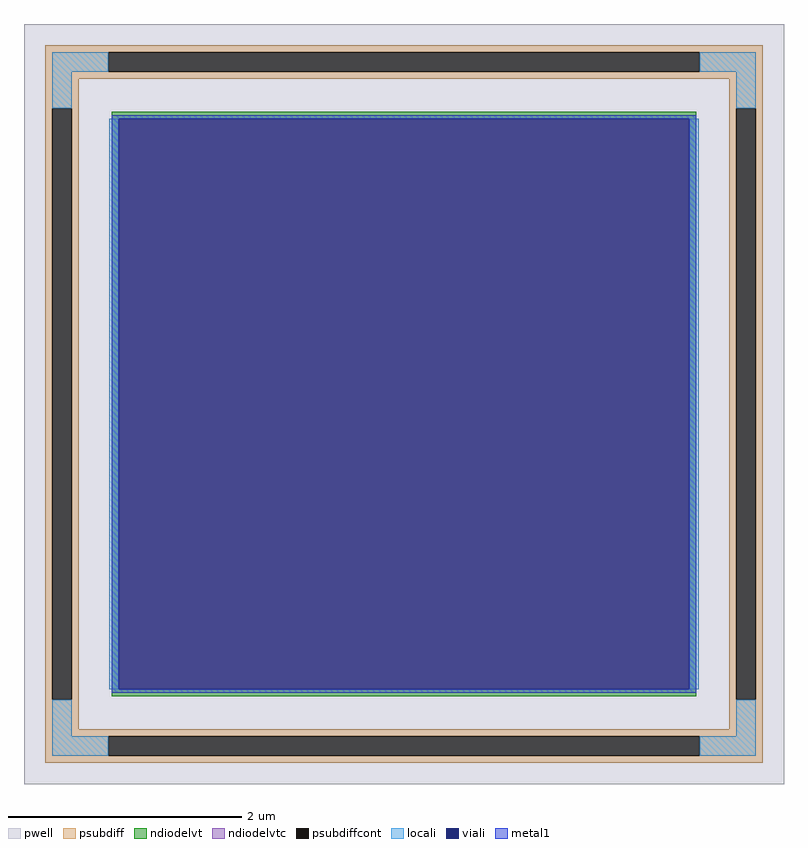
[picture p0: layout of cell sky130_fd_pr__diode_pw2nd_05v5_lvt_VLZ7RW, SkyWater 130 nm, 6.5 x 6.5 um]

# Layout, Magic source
magic
tech sky130A
<< pwell >>
rect -325 -325 325 325
<< psubdiff >>
rect -307 301 307 307
rect -307 284 -253 301
rect 253 284 307 301
rect -307 278 307 284
rect -307 253 -278 278
rect -307 -253 -301 253
rect -284 -253 -278 253
rect 278 253 307 278
rect -307 -278 -278 -253
rect 278 -253 284 253
rect 301 -253 307 253
rect 278 -278 307 -253
rect -307 -284 307 -278
rect -307 -301 -253 -284
rect 253 -301 307 -284
rect -307 -307 307 -301
<< psubdiffcont >>
rect -253 284 253 301
rect -301 -253 -284 253
rect 284 -253 301 253
rect -253 -301 253 -284
<< ndiodelvt >>
rect -250 244 250 250
rect -250 -244 -244 244
rect 244 -244 250 244
rect -250 -250 250 -244
<< ndiodelvtc >>
rect -244 -244 244 244
<< locali >>
rect -301 284 -253 301
rect 253 284 301 301
rect -301 253 -284 284
rect 284 253 301 284
rect -252 -244 -244 244
rect 244 -244 252 244
rect -301 -284 -284 -253
rect 284 -284 301 -253
rect -301 -301 -253 -284
rect 253 -301 301 -284
<< viali >>
rect -244 -244 244 244
<< metal1 >>
rect -250 244 250 247
rect -250 -244 -244 244
rect 244 -244 250 244
rect -250 -247 250 -244
<< properties >>
string FIXED_BBOX -292 -292 292 292
string gencell sky130_fd_pr__diode_pw2nd_05v5_lvt
string library sky130
string parameters w 5 l 5 area 25.0 peri 20.0 nx 1 ny 1 dummy 0 lmin 0.45 wmin 0.45 elc 1 erc 1 etc 1 ebc 1 doverlap 0 compatible {sky130_fd_pr__diode_pw2nd_05v5 sky130_fd_pr__diode_pw2nd_05v5_lvt  sky130_fd_pr__diode_pw2nd_05v5_nvt sky130_fd_pr__diode_pw2nd_11v0} full_metal 1 vias 1 viagb 0 viagt 0 viagl 0 viagr 0
<< end >>
